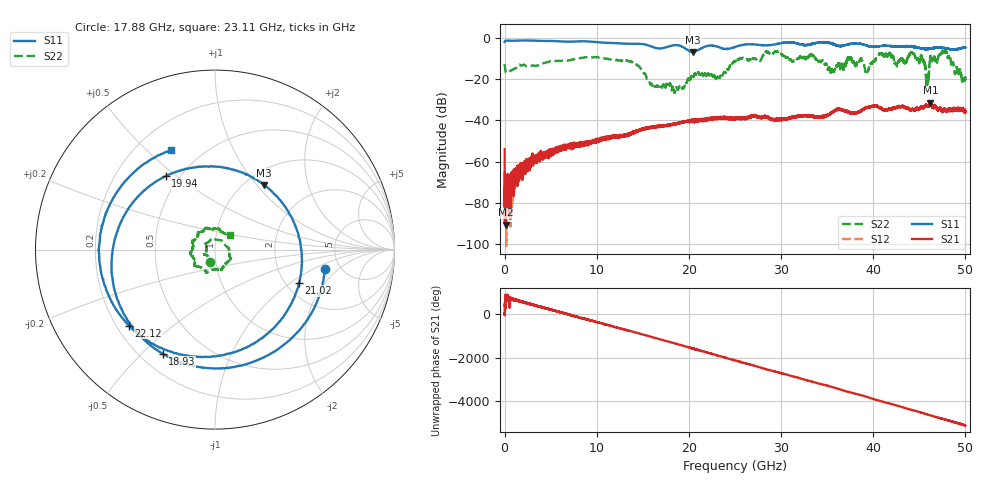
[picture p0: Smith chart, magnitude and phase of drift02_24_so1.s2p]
!Created with skrf (http://scikit-rf.org).
# Hz S RI R 50.0
!freq ReS11 ImS11 ReS21 ImS21 ReS12 ImS12 ReS22 ImS22
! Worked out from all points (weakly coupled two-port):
!   10001 points, 300 kHz to 50 GHz, reference 50 ohm
!   highest |S21| = -31.38 dB at 46.21 GHz (marker M1); lowest = -90.4 dB at 100.3 MHz (marker M2)
!   lowest |S11| = -6.9 dB at 20.44 GHz (marker M3), VSWR 2.64, Z = 60.3 + j54.5 ohm
!   |S11| at or under -10 dB: nowhere
!   |S22| runs from -26.6 to -6.2 dB; largest |S21 - S12| = 0.0032
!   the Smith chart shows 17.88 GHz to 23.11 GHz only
!   S11 on the Smith chart (normalised r, x): 17.88 GHz: 3.79, -1.35; 18.93 GHz: 0.29, -0.58; 19.94 GHz: 0.42, +0.46; 21.02 GHz: 2.35, -1.16; 22.12 GHz: 0.25, -0.36; 23.11 GHz: 0.34, +0.60
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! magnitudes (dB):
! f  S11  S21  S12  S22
! 300 kHz  -2.1  -54.0  -64.8  -12.8
! 100.3 MHz  -1.5  -90.4  -79.8  -16.3
! 310.3 MHz  -1.4  -73.5  -73.6  -17.0
! 3.055 GHz  -1.4  -59.0  -60.0  -13.4
! 8.335 GHz  -1.7  -51.3  -51.5  -9.7
! 13.7 GHz  -2.9  -46.1  -46.3  -11.7
! 16.67 GHz  -5.2  -42.7  -42.8  -23.5
! 17.88 GHz  -4.1  -42.5  -42.3  -22.5
! 18.93 GHz  -3.7  -41.2  -41.3  -23.8
! 19.94 GHz  -6.1  -40.4  -40.4  -19.7
! 20.44 GHz  -6.9  -40.0  -39.8  -19.0
! 21.02 GHz  -6.0  -39.8  -40.1  -16.8
! 22.12 GHz  -3.9  -39.4  -39.1  -17.7
! 23.11 GHz  -4.4  -39.0  -38.7  -18.9
! 25 GHz  -4.5  -38.7  -38.9  -11.5
! 33.34 GHz  -3.0  -38.0  -37.8  -8.4
! 39.31 GHz  -3.8  -33.9  -33.7  -17.1
! 41.67 GHz  -4.0  -34.7  -34.7  -7.8
! 45.85 GHz  -5.4  -33.0  -32.8  -21.2
! 46.21 GHz  -5.3  -31.4  -31.8  -9.1
! 47.76 GHz  -5.0  -34.6  -34.7  -6.8
! 50 GHz  -4.8  -36.1  -35.7  -19.2
